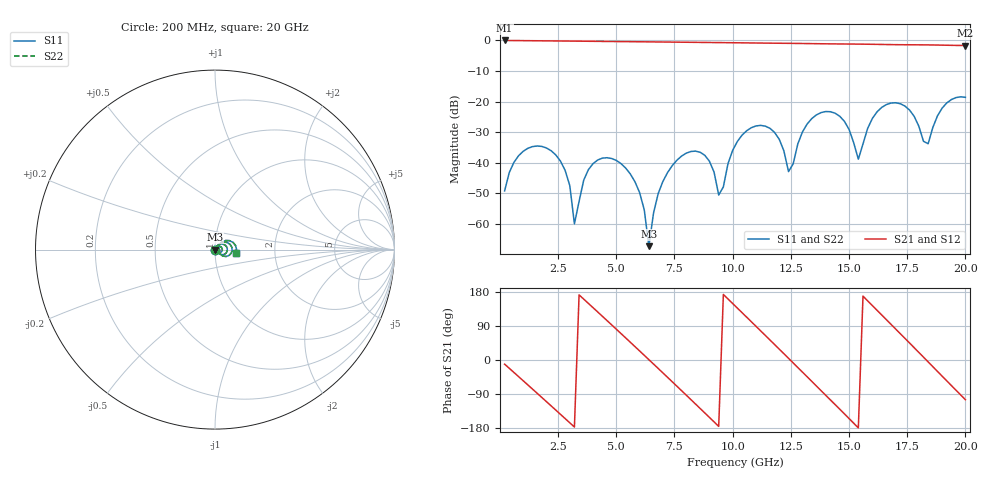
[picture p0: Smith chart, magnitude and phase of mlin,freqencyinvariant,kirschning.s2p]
! Created Tue May 10 10:04:49 2022
# hz S ma R 50
! 2 Port Network Data from SP1.SP block
! freq  magS11  angS11  magS21  angS21  magS12  angS12  magS22  angS22
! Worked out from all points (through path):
!   100 points, 200 MHz to 20 GHz, reference 50 ohm
!   highest |S21| = -0.02 dB at 200 MHz (marker M1); lowest = -1.7 dB at 20 GHz (marker M2)
!   group delay of S21, straight-line fit = 165 ps
!   lowest |S11| = -67.3 dB at 6.4 GHz (marker M3), VSWR 1.00, Z = 50 + j0.0417 ohm
!   |S11| at or under -10 dB: start of sweep to end of sweep
!   |S22| runs from -67.3 to -18.4 dB; largest |S21 - S12| = 0
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2e8  0.003474 -121.7  0.998 -10.9  0.998 -10.9  0.003474 -121.7
1.8e9  0.0185 147.7  0.9846 -98.9  0.9846 -98.9  0.0185 147.7
2.8e9  0.007532 92.7  0.9765 -154.5  0.9765 -154.5  0.007532 92.7
3.2e9  0.001007 92.6  0.9732 -176.9  0.9732 -176.9  0.001007 92.6
3.6e9  0.005215 -143.4  0.9699 160.6  0.9699 160.6  0.005215 -143.4
5.4e9  0.008215 97.6  0.9551 58.4  0.9551 58.4  0.008215 97.6
6e9  0.003268 47.7  0.95 24.0  0.95 24.0  0.003268 47.7
6.4e9  0.0004337 73.8  0.9467 0.9  0.9467 0.9  0.0004337 73.8
6.8e9  0.003143 128.3  0.9433 -22.3  0.9433 -22.3  0.003143 128.3
8.2e9  0.01528 15.7  0.9314 -104.2  0.9314 -104.2  0.01528 15.7
9.4e9  0.002974 -23.7  0.9213 -175.2  0.9213 -175.2  0.002974 -23.7
1.02e10  0.02226 55.1  0.9144 137.1  0.9144 137.1  0.02226 55.1
1.1e10  0.03999 10.1  0.907 89.1  0.907 89.1  0.03999 10.1
1.2e10  0.02428 -41.6  0.8987 28.7  0.8987 28.7  0.02428 -41.6
1.24e10  0.007184 -22.9  0.8956 4.5  0.8956 4.5  0.007184 -22.9
1.34e10  0.05279 35.8  0.886 -56.5  0.886 -56.5  0.05279 35.8
1.42e10  0.06834 -7.3  0.878 -105.3  0.878 -105.3  0.06834 -7.3
1.52e10  0.02127 -41.3  0.8713 -166.8  0.8713 -166.8  0.02127 -41.3
1.54e10  0.01145 -0.4  0.8698 -179.1  0.8698 -179.1  0.01145 -0.4
1.68e10  0.09461 8.1  0.8541 94.3  0.8541 94.3  0.09461 8.1
1.84e10  0.02049 26.4  0.844 -5.0  0.844 -5.0  0.02049 26.4
2e10  0.1174 -8.6  0.8247 -104.8  0.8247 -104.8  0.1174 -8.6
